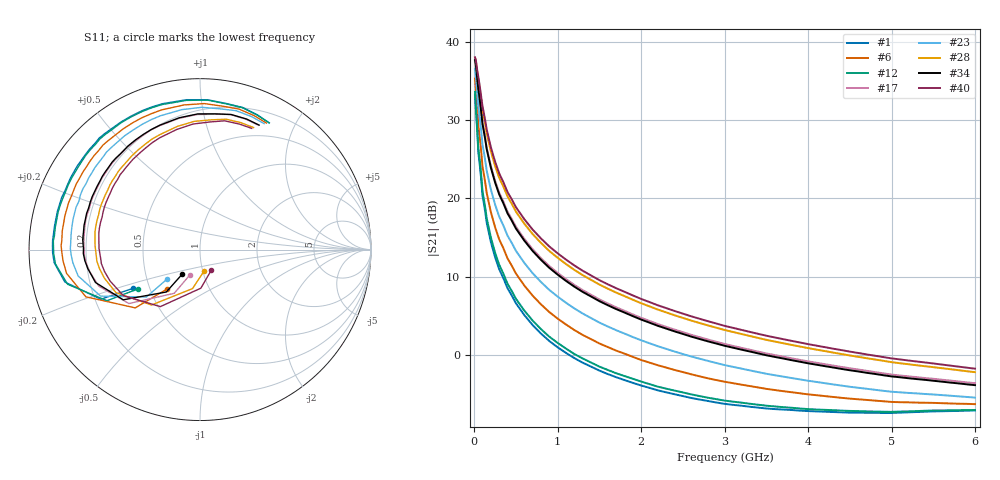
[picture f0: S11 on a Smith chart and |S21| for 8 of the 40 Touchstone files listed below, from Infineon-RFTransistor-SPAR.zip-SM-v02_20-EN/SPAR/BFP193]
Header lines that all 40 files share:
! Infineon Technologies  Discrete & RF Semiconductors
! BFP193
! Common Emitter S-Parameters:  Jan 2017
# GHz  S  MA  R  50
!  f  S11  S21  S12  S22
! GHz  MAG  ANG  MAG  ANG  MAG  ANG  MAG  ANG
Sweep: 10 MHz to 6 GHz
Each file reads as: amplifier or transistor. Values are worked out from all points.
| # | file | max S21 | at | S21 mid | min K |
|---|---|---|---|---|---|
| 1 | BFP193_VCE_1.0V_IC_0.10A.s2p | 33.2 dB | 10 MHz | -4.5 dB at 2.2 GHz | 0.78 |
| 2 | BFP193_VCE_1.0V_IC_0.11A.s2p | 32.5 dB | 10 MHz | -5.4 dB at 2.2 GHz | 0.79 |
| 3 | BFP193_VCE_1.0V_IC_0.12A.s2p | 31.9 dB | 10 MHz | -6.1 dB at 2.2 GHz | 0.84 |
| 4 | BFP193_VCE_1.0V_IC_65mA.s2p | 35.8 dB | 10 MHz | -0.3 dB at 2.2 GHz | 0.56 |
| 5 | BFP193_VCE_1.0V_IC_70mA.s2p | 35.5 dB | 10 MHz | -1.1 dB at 2.2 GHz | 0.58 |
| 6 | BFP193_VCE_1.0V_IC_72mA.s2p | 35.3 dB | 10 MHz | -1.3 dB at 2.2 GHz | 0.60 |
| 7 | BFP193_VCE_1.0V_IC_75mA.s2p | 35.1 dB | 10 MHz | -1.8 dB at 2.2 GHz | 0.63 |
| 8 | BFP193_VCE_1.0V_IC_80mA.s2p | 34.7 dB | 10 MHz | -2.4 dB at 2.2 GHz | 0.65 |
| 9 | BFP193_VCE_1.0V_IC_85mA.s2p | 34.4 dB | 10 MHz | -3.0 dB at 2.2 GHz | 0.68 |
| 10 | BFP193_VCE_1.0V_IC_90mA.s2p | 34.0 dB | 10 MHz | -3.6 dB at 2.2 GHz | 0.71 |
| 11 | BFP193_VCE_1.0V_IC_92mA.s2p | 33.8 dB | 10 MHz | -3.8 dB at 2.2 GHz | 0.71 |
| 12 | BFP193_VCE_1.0V_IC_95mA.s2p | 33.6 dB | 10 MHz | -4.1 dB at 2.2 GHz | 0.74 |
| 13 | BFP193_VCE_2.0V_IC_0.10A.s2p | 36.0 dB | 10 MHz | 0.1 dB at 2.2 GHz | 0.68 |
| 14 | BFP193_VCE_2.0V_IC_0.11A.s2p | 35.4 dB | 10 MHz | -0.9 dB at 2.2 GHz | 0.72 |
| 15 | BFP193_VCE_2.0V_IC_0.12A.s2p | 34.7 dB | 10 MHz | -1.9 dB at 2.2 GHz | 0.78 |
| 16 | BFP193_VCE_2.0V_IC_65mA.s2p | 37.6 dB | 10 MHz | 4.5 dB at 2.2 GHz | 0.37 |
| 17 | BFP193_VCE_2.0V_IC_70mA.s2p | 37.5 dB | 10 MHz | 3.9 dB at 2.2 GHz | 0.42 |
| 18 | BFP193_VCE_2.0V_IC_72mA.s2p | 37.5 dB | 10 MHz | 3.7 dB at 2.2 GHz | 0.45 |
| 19 | BFP193_VCE_2.0V_IC_75mA.s2p | 37.4 dB | 10 MHz | 3.3 dB at 2.2 GHz | 0.51 |
| 20 | BFP193_VCE_2.0V_IC_80mA.s2p | 37.2 dB | 10 MHz | 2.7 dB at 2.2 GHz | 0.53 |
| 21 | BFP193_VCE_2.0V_IC_85mA.s2p | 36.9 dB | 10 MHz | 2.0 dB at 2.2 GHz | 0.59 |
| 22 | BFP193_VCE_2.0V_IC_90mA.s2p | 36.7 dB | 10 MHz | 1.3 dB at 2.2 GHz | 0.62 |
| 23 | BFP193_VCE_2.0V_IC_92mA.s2p | 36.5 dB | 10 MHz | 1.1 dB at 2.2 GHz | 0.63 |
| 24 | BFP193_VCE_2.0V_IC_95mA.s2p | 36.3 dB | 10 MHz | 0.7 dB at 2.2 GHz | 0.65 |
| 25 | BFP193_VCE_3.0V_IC_0.10A.s2p | 37.2 dB | 10 MHz | 2.5 dB at 2.2 GHz | 0.59 |
| 26 | BFP193_VCE_3.0V_IC_0.11A.s2p | 36.6 dB | 10 MHz | 1.4 dB at 2.2 GHz | 0.66 |
| 27 | BFP193_VCE_3.0V_IC_0.12A.s2p | 35.9 dB | 10 MHz | 0.3 dB at 2.2 GHz | 0.72 |
| 28 | BFP193_VCE_3.0V_IC_65mA.s2p | 37.9 dB | 10 MHz | 5.8 dB at 2.2 GHz | 0.32 |
| 29 | BFP193_VCE_3.0V_IC_70mA.s2p | 38.0 dB | 10 MHz | 5.5 dB at 2.2 GHz | 0.32 |
| 30 | BFP193_VCE_3.0V_IC_72mA.s2p | 38.0 dB | 10 MHz | 5.4 dB at 2.2 GHz | 0.37 |
| 31 | BFP193_VCE_3.0V_IC_75mA.s2p | 38.0 dB | 10 MHz | 5.2 dB at 2.2 GHz | 0.38 |
| 32 | BFP193_VCE_3.0V_IC_80mA.s2p | 38.0 dB | 10 MHz | 4.8 dB at 2.2 GHz | 0.47 |
| 33 | BFP193_VCE_3.0V_IC_85mA.s2p | 37.9 dB | 10 MHz | 4.3 dB at 2.2 GHz | 0.48 |
| 34 | BFP193_VCE_3.0V_IC_90mA.s2p | 37.7 dB | 10 MHz | 3.7 dB at 2.2 GHz | 0.53 |
| 35 | BFP193_VCE_3.0V_IC_92mA.s2p | 37.6 dB | 10 MHz | 3.5 dB at 2.2 GHz | 0.54 |
| 36 | BFP193_VCE_3.0V_IC_95mA.s2p | 37.5 dB | 10 MHz | 3.1 dB at 2.2 GHz | 0.57 |
| 37 | BFP193_VCE_4.0V_IC_0.10A.s2p | 37.7 dB | 10 MHz | 3.9 dB at 2.2 GHz | 0.55 |
| 38 | BFP193_VCE_4.0V_IC_0.11A.s2p | 37.2 dB | 10 MHz | 2.8 dB at 2.2 GHz | 0.62 |
| 39 | BFP193_VCE_4.0V_IC_0.12A.s2p | 36.6 dB | 10 MHz | 1.7 dB at 2.2 GHz | 0.68 |
| 40 | BFP193_VCE_4.0V_IC_65mA.s2p | 38.0 dB | 10 MHz | 6.3 dB at 2.2 GHz | 0.26 |

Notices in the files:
Hoja de datos/BFP 450/Infineon-RFTransistor-SPAR.zip-SM-v02_20-EN/SPAR/BFP193/BFP193_VCE_1.0V_IC_0.10A.s2p:
(c) 2017  Infineon Technologies AG, Munich
